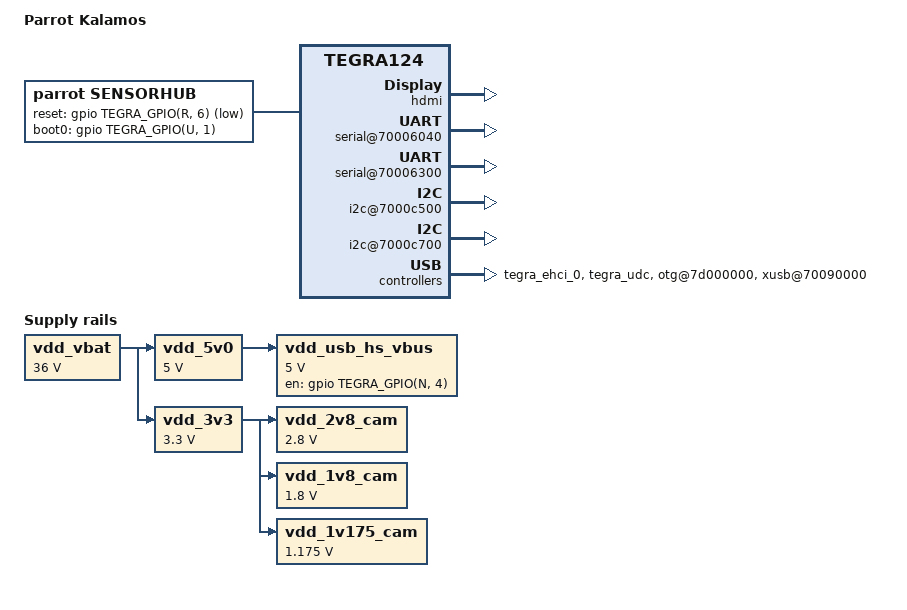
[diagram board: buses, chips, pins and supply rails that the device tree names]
/dts-v1/;

#include <dt-bindings/display/tegra-dc.h>
#include <dt-bindings/usb/tegra-ehci.h>
#include <dt-bindings/usb/tegra-xhci.h>

#include "tegra124-meerkat.dtsi"
#include "tegra124-kalamos-camera.dtsi"

/ {
	model = "Parrot Kalamos";
	compatible = "parrot,kalamos", "ad,meerkat", "nvidia,tegra124";
	nvidia,dtsfilename = __FILE__;

	pinmux {
		common {
			pbb3 {
				nvidia,function = "vgp3";
			};

			/* Don't mess with NVD_PWM (camera trigger).
			 * Tri-stating the pin gives us the required
			 * 1.8V */
			dap1_dout_pn2 {
				nvidia,tristate = <TEGRA_PIN_ENABLE>;
			};
		};
	};

	host1x {
		dc@54200000 {
			status = "okay";

			nvidia,dc-connection = "external-display";
			vdd_hdmi_5v0-supply = <&vdd_5v0>;
		};

		hdmi {
			status = "okay";
		};
	};

	serial@70006040 {
		compatible = "nvidia,tegra114-hsuart", "nvidia,tegra30-hsuart";
		status = "okay";
	};

	serial@70006300 {
		status = "okay";
	};

	/* CAM */
	i2c@7000c500 {
		status = "okay";
	};

	/* HDMI DDC */
	i2c@7000c700 {
		status = "okay";
	};

	tegra_ehci_0: usb@7d000000 {
		status = "okay";
		nvidia,port-otg;
		nvidia,has-host;
		nvidia,phy-interface = <TEGRA_USB_PHY_INTF_UTMI>;
		nvidia,mode = <TEGRA_USB_OPMODE_HOST>;
		nvidia,id-det-type = <TEGRA_USB_PMU_ID>;
		nvidia,id-extcon-dev-name = "as3722-extcon";

		nvidia,remote-wakeup-supported;
		nvidia,power-off-on-suspend;

		nvidia,hssync-start-delay = <0>;
		nvidia,elastic-limit = <16>;
		nvidia,idle-wait-delay = <17>;
		nvidia,term-range-adj = <6>;
		nvidia,xcvr-setup = <8>;
		nvidia,xcvr-lsfslew = <2>;
		nvidia,xcvr-lsrslew = <2>;
		nvidia,xcvr-setup-offset = <0>;
		nvidia,xcvr-use-fuses = <1>;
		nvidia,vbus-oc-map = <0x5>;

		usb_vbus-supply = <&vdd_usb_hs_vbus>;
	};

	tegra_udc: udc@7d000000 {
		status = "okay";
		nvidia,port-otg;
		nvidia,has-host;
		nvidia,phy-interface = <TEGRA_USB_PHY_INTF_UTMI>;
		nvidia,mode = <TEGRA_USB_OPMODE_DEVICE>;
		nvidia,id-det-type = <TEGRA_USB_PMU_ID>;
		nvidia,id-extcon-dev-name = "as3722-extcon";

		nvidia,hssync-start-delay = <0>;
		nvidia,elastic-limit = <16>;
		nvidia,idle-wait-delay = <17>;
		nvidia,term-range-adj = <6>;
		nvidia,xcvr-setup = <8>;
		nvidia,xcvr-lsfslew = <2>;
		nvidia,xcvr-lsrslew = <2>;
		nvidia,xcvr-setup-offset = <0>;
		nvidia,xcvr-use-fuses = <1>;

		usb_vbus-supply = <&vdd_usb_hs_vbus>;
	};

	otg@7d000000 {
		status = "okay";
		nvidia,ehci-device = <&tegra_ehci_0>;
		nvidia,is-xhci;

		usb_vbus-supply = <&vdd_usb_hs_vbus>;
	};

	xusb@70090000 {
		status = "okay";
		nvidia,gpio_ss1_sata = <0>;
		nvidia,portmap = <(XUSB_MUX_USB2_P0 | XUSB_MUX_SS_P0)>;
		nvidia,ss_portmap = <XUSB_PADCTL_SS_PORTMAP(P0, DISABLE)>;
		nvidia,lane_owner = <1>; /* PCIe lane0 owner = USB3_SS port0 */
		nvidia,ulpicap = <0>;
		usb_vbus0-supply = <&vdd_usb_hs_vbus>;
	};

	sensorhub {
		compatible = "parrot,sensorhub";

		reset-gpio = <&gpio TEGRA_GPIO(R, 6) GPIO_ACTIVE_LOW>;
		boot0-gpio = <&gpio TEGRA_GPIO(U, 1) GPIO_ACTIVE_HIGH>;
	};

	regulators {
		vdd_vbat: regulator@100 {
			compatible = "regulator-fixed";
			reg = <100>;
			regulator-name = "VBAT_PROTECT";
			regulator-min-microvolt = <36000000>;
			regulator-max-microvolt = <36000000>;
			regulator-always-on;
			regulator-boot-on;
		};

		vdd_5v0: regulator@101 {
			compatible = "regulator-fixed";
			reg = <101>;
			regulator-name = "5V_BOARD";
			regulator-min-microvolt = <5000000>;
			regulator-max-microvolt = <5000000>;
			regulator-always-on;
			regulator-boot-on;
			vin-supply = <&vdd_vbat>;
		};

		vdd_3v3: regulator@102 {
			compatible = "regulator-fixed";
			reg = <102>;
			regulator-name = "3V3_BOARD";
			regulator-min-microvolt = <3300000>;
			regulator-max-microvolt = <3300000>;
			regulator-always-on;
			regulator-boot-on;
			vin-supply = <&vdd_vbat>;
		};

		vdd_usb_hs_vbus: regulator@103 {
			compatible = "regulator-fixed";
			reg = <103>;
			regulator-name = "USB_HS_VBUS";
			regulator-min-microvolt = <5000000>;
			regulator-max-microvolt = <5000000>;
			gpio = <&gpio TEGRA_GPIO(N, 4) GPIO_ACTIVE_HIGH>;
			enable-active-high;
			gpio-open-drain;
			vin-supply = <&vdd_5v0>;
		};

		vdd_2v8_cam: regulator@104 {
			compatible = "regulator-fixed";
			reg = <104>;
			regulator-name = "2V8_CAM";
			regulator-min-microvolt = <2800000>;
			regulator-max-microvolt = <2800000>;
			regulator-always-on;
			regulator-boot-on;
			vin-supply = <&vdd_3v3>;
			consumers {
				c1 {
					regulator-consumer-supply = "vana";
					regulator-consumer-device = "2-0010";
				};
				c2 {
					regulator-consumer-supply = "vana";
					regulator-consumer-device = "2-0018";
				};
			};
		};

		vdd_1v8_cam: regulator@105 {
			compatible = "regulator-fixed";
			reg = <105>;
			regulator-name = "1V8_CAM";
			regulator-min-microvolt = <1800000>;
			regulator-max-microvolt = <1800000>;
			regulator-always-on;
			regulator-boot-on;
			vin-supply = <&vdd_3v3>;
			consumers {
				c1 {
					regulator-consumer-supply = "vif";
					regulator-consumer-device = "2-0010";
				};
				c2 {
					regulator-consumer-supply = "vif";
					regulator-consumer-device = "2-0018";
				};
			};
		};

		/* This 1.175V regulator does not actually exist,
		 * but the sensor drivers want it. */
		vdd_1v175_cam: regulator@106 {
			compatible = "regulator-fixed";
			reg = <106>;
			regulator-name = "1V175_CAM";
			regulator-min-microvolt = <1175000>;
			regulator-max-microvolt = <1175000>;
			regulator-always-on;
			regulator-boot-on;
			vin-supply = <&vdd_3v3>;
			consumers {
				c1 {
					regulator-consumer-supply = "vdig";
					regulator-consumer-device = "2-0010";
				};
				c2 {
					regulator-consumer-supply = "vdig";
					regulator-consumer-device = "2-0018";
				};
			};
		};
	};
};
